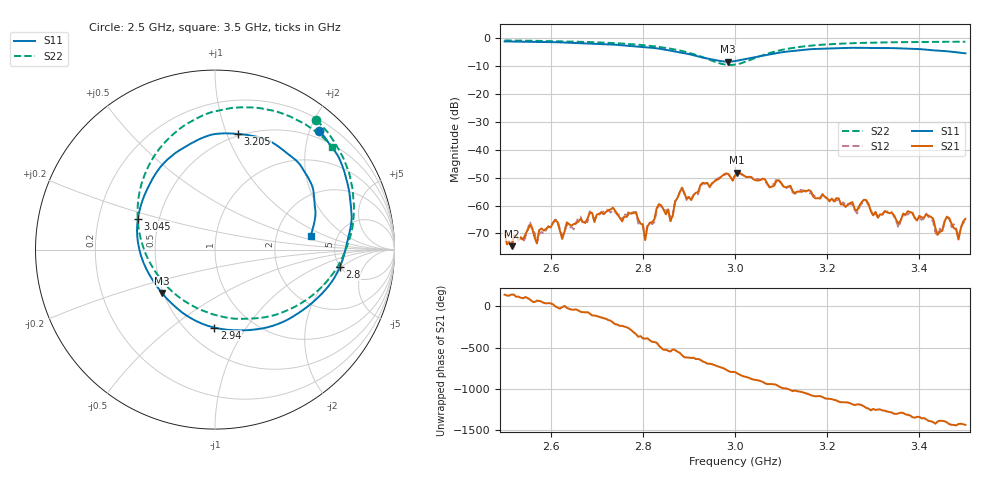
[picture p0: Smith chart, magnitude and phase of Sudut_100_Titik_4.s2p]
# Hz S RI R 50
! CMT, C1220, 16058040, 17.2.0/1
! Date: 15/08/2018 10:32:28
! Data: Format (Calibration Info)
! Freq  S11: Re/Im (F2)  S21: Re/Im (F2)  S12: Re/Im (F2)  S22: Re/Im (F2)
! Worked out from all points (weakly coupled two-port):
!   201 points, 2.5 GHz to 3.5 GHz, reference 50 ohm
!   highest |S21| = -48.22 dB at 3.005 GHz (marker M1); lowest = -74.6 dB at 2.515 GHz (marker M2)
!   lowest |S11| = -8.4 dB at 2.985 GHz (marker M3), VSWR 2.23, Z = 24.6 - j13.9 ohm
!   |S11| at or under -10 dB: nowhere
!   |S22| runs from -9.6 to -0.8 dB; largest |S21 - S12| = 0.00032
!   S11 on the Smith chart (normalised r, x): 2.5 GHz: 0.37, +2.15; 2.8 GHz: 4.93, -1.92; 2.94 GHz: 0.68, -0.73; 3.045 GHz: 0.38, +0.17; 3.205 GHz: 0.48, +1.10; 3.5 GHz: 3.17, +0.68
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2.5e9  0.5796 0.6626  -0.000255 0.000219  -0.000282 0.000221  0.5648 0.7219
2.515e9  0.6021 0.6379  -0.000144 0.000118  -0.000127 0.000137  0.5813 0.706
2.555e9  0.6429 0.5789  7.53e-05 0.00044  6.93e-05 0.000506  0.6266 0.6549
2.57e9  0.6634 0.5535  8.17e-05 0.000194  0.00011 0.000178  0.6423 0.6326
2.67e9  0.745 0.3383  0.000155 -0.000483  8.28e-05 -0.000459  0.738 0.452
2.8e9  0.6948 -0.099  0.000401 -0.000221  0.000368 -0.000217  0.7531 0.071
2.805e9  0.6855 -0.1193  0.000201 -0.00013  0.000228 -0.00011  0.7472 0.0523
2.835e9  0.6127 -0.2267  -0.000477 -0.000947  -0.000408 -0.000936  0.6994 -0.0648
2.86e9  0.5058 -0.325  -0.000519 7.83e-05  -0.000521 0.000101  0.632 -0.1668
2.885e9  0.3805 -0.4021  -0.00125 0.00168  -0.00125 0.00162  0.5315 -0.2638
2.94e9  -0.00302 -0.4346  0.00232 0.00105  0.00226 0.00115  0.1811 -0.385
2.985e9  -0.2956 -0.2415  0.00172 -0.00327  0.00186 -0.00322  -0.1676 -0.2881
3e9  -0.3638 -0.1428  0.000771 -0.00342  0.000594 -0.00347  -0.2686 -0.2043
3.005e9  -0.3828 -0.1078  -0.000223 -0.00388  -0.000316 -0.00372  -0.2973 -0.1706
3.045e9  -0.4299 0.1732  -0.00281 -0.000373  -0.00298 -0.000434  -0.4276 0.1341
3.17e9  -0.00331 0.6433  0.00143 -0.000118  0.00153 1.27e-05  -0.0769 0.7433
3.205e9  0.1292 0.6443  0.000906 -0.00077  0.000854 -0.000863  0.0524 0.7814
3.335e9  0.4684 0.4798  -0.000688 0.000238  -0.00074 0.000292  0.4027 0.7479
3.44e9  0.5577 0.2274  0.000208 0.000217  0.000212 0.000198  0.5792 0.6426
3.46e9  0.5581 0.1797  0.000521 0.00036  0.000519 0.000323  0.6053 0.6212
3.485e9  0.5447 0.1161  0.000236 6.55e-05  0.000256 6.82e-05  0.6347 0.5913
3.5e9  0.5328 0.0764  0.000575 4.57e-05  0.000513 -4.66e-05  0.6518 0.5743
